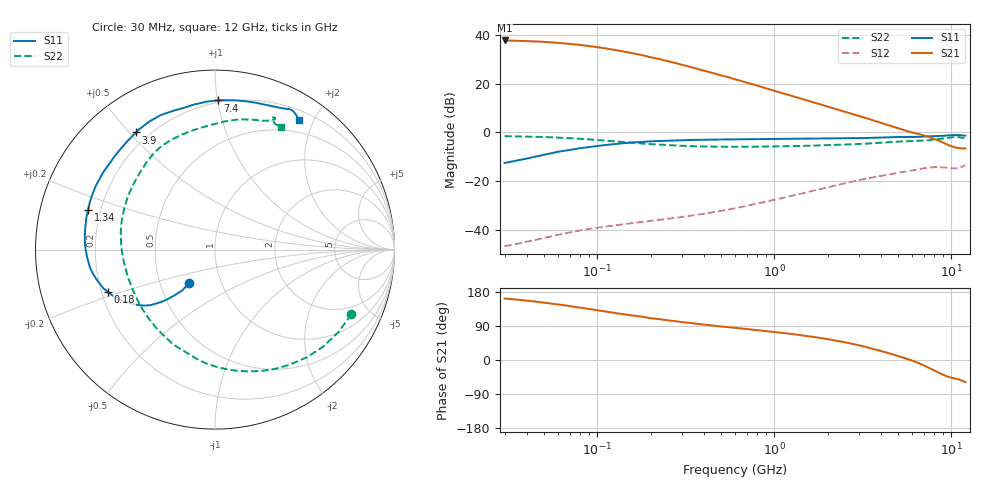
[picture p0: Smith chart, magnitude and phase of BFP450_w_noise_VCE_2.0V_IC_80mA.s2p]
! Infineon Technologies  Discrete & RF Semiconductors
! BFP450
! VCE =  2.0 V,  IC =  80 mA
! Common Emitter S-Parameters:  Nov 2015
# GHz  S  MA  R  50
!  f  S11  S21  S12  S22
! GHz  MAG  ANG  MAG  ANG  MAG  ANG  MAG  ANG
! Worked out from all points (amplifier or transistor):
!   239 points, 30 MHz to 12 GHz, reference 50 ohm
!   highest |S21| = 37.8 dB at 30 MHz (marker M1)
!   |S21| within 3 dB of that: start of sweep to 105.8 MHz
!   unconditionally stable (mu >= 1): 949.5 MHz to end of sweep
!   at 300 MHz: K = 0.67, MSG = 31.3 dB, |S12| = -34.8 dB
!   at 1.88 GHz: K = 1.09, MAG = 15.3 dB, |S12| = -23.0 dB
!   at 12 GHz: K = 1.08, MAG = 1.7 dB, |S12| = -13.5 dB
!   lowest NFmin = 1.90 dB at 450 MHz
!   S11 on the Smith chart (normalised r, x): 30 MHz: 0.70, -0.28; 180 MHz: 0.23, -0.18; 1.34 GHz: 0.15, +0.15; 3.9 GHz: 0.15, +0.52; 7.4 GHz: 0.19, +1.00; 12 GHz: 0.32, +1.79
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0.03  0.2354 -127.7  78.06 162.2  0.0046 80.0  0.841 -25.4
0.04  0.2915 -128.7  75.79 156.7  0.0057 76.0  0.8272 -33.9
0.05  0.348 -131.9  73.05 151.3  0.0068 71.3  0.8089 -42.1
0.06  0.4012 -134.7  69.77 146.8  0.0079 68.0  0.7881 -49.7
0.07  0.4376 -137.0  66.39 142.0  0.0088 64.7  0.7651 -56.8
0.085  0.4889 -140.5  61.56 136.5  0.01 61.8  0.7322 -66.4
0.1  0.531 -144.5  56.9 131.3  0.011 58.4  0.7022 -75.1
0.12  0.5695 -149.0  51.34 125.6  0.0121 56.0  0.6667 -85.3
0.15  0.616 -154.3  44.28 118.7  0.0134 53.2  0.6248 -97.8
0.18  0.6404 -158.4  38.8 114.1  0.0145 52.4  0.5911 -107.0
0.2  0.6584 -160.9  35.32 110.3  0.0152 51.9  0.5779 -113.6
0.24  0.6752 -164.7  30.43 105.8  0.0165 51.7  0.5535 -122.8
0.3  0.6951 -169.3  24.7 100.0  0.0183 52.3  0.5327 -134.0
0.36  0.7053 -172.6  20.81 95.9  0.0201 53.5  0.5208 -141.9
0.6  0.724 178.4  12.4 84.7  0.0277 57.2  0.5086 -161.3
0.9  0.7323 171.2  8.08 76.2  0.0378 58.6  0.5141 -174.0
1.34  0.7412 162.8  5.267 66.9  0.0528 57.1  0.5274 173.6
1.64  0.7472 157.7  4.234 61.4  0.0629 54.8  0.5374 167.1
3.9  0.7876 124.0  1.627 25.0  0.1258 29.6  0.6121 129.8
4.5  0.8018 117.2  1.372 16.9  0.1379 23.6  0.6351 122.8
7.4  0.8313 89.0  0.817 -19.9  0.1886 -7.1  0.6922 92.7
12  0.8611 57.1  0.471 -58.4  0.2124 -41.3  0.7766 61.9
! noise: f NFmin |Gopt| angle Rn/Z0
0.45  1.9  0.6  -172  0.07
0.9  1.96  0.63  -166  0.08
1.9  2.06  0.65  -150  0.14
2.4  2.15  0.65  -141  0.2
